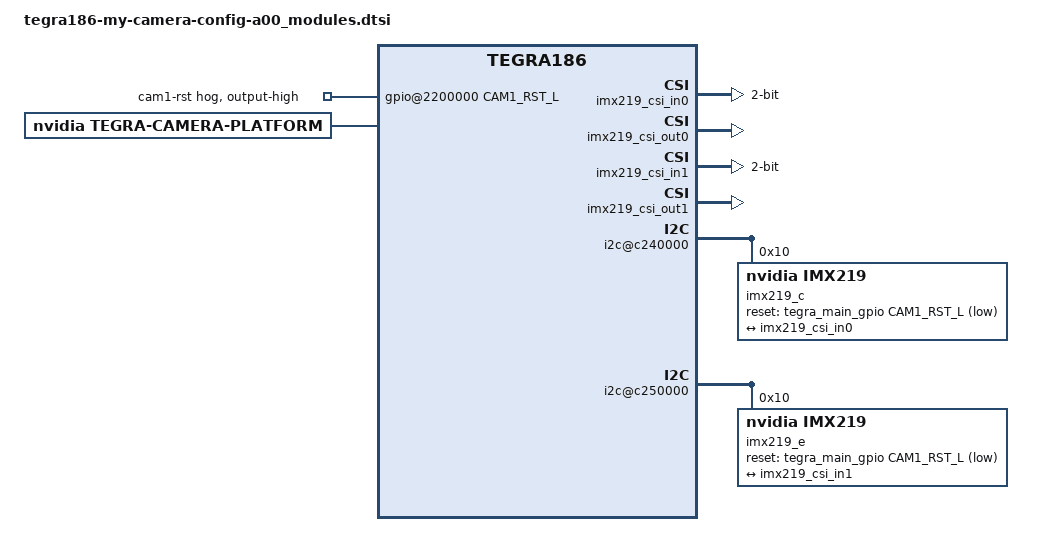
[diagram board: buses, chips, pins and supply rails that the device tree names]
#include "dt-bindings/clock/tegra186-clock.h"
#include <dt-bindings/pinctrl/pinctrl-tegra.h>
#include <dt-bindings/gpio/tegra186-gpio.h>

#define CAM1_RST_L     TEGRA_MAIN_GPIO(R, 1)

/* camera control gpio definitions */
/ {
	gpio@2200000 {
		camera-control-output-high {
			gpio-hog;
			output-high;
			gpios = <CAM1_RST_L 0>;
			label = "cam1-rst";
		};

		camera-control-output-low {
			status = "disabled";
		};

		camera-control-input {
			status = "disabled";
		};
	};
};

/ {
  host1x {
    vi@15700000 {
      num-channels = <2>;
      ports {
        #address-cells = <1>;
        #size-cells = <0>;
        vi_port0: port@0 {
          status = "okay";
          reg = <0>;
          vi_in0: endpoint {
            status = "okay";
            csi-port = <2>;
            bus-width = <2>;
            remote-endpoint = <&imx219_csi_out0>;
          };
        };
        vi_port1: port@1 {
          status = "okay";
          reg = <1>;
          vi_in1: endpoint {
            status = "okay";
            csi-port = <4>;
            bus-width = <2>;
            remote-endpoint = <&imx219_csi_out1>;
          };
        };
      };
    };
  };
};


/ {
  host1x {
    nvcsi@150c0000 {
      #address-cells = <1>;
			#size-cells = <0>;
      num-channels = <2>;
      //status = "okay"
      channel@0 {
        reg = <0>;
        status = "okay";
        ports {
          #address-cells = <1>;
          #size-cells = <0>;
          port@0 {
            status = "okay";
            reg = <0>;
            imx219_csi_in0: endpoint@0 {
              status = "okay";
              csi-port = <2>;
              bus-width = <2>;
              remote-endpoint = <&imx219_phy_out0>;
            };
          };
          port@1 {
            status = "okay";
            reg = <1>;
            imx219_csi_out0: endpoint@1 {
              status = "okay";
              remote-endpoint = <&vi_in0>;
            };
          };
        };
      };

      channel@1 {
        reg = <1>;
        status = "okay";
        ports {
          #address-cells = <1>;
          #size-cells = <0>;
          port@0 {
            status = "okay";
            reg = <0>;
            imx219_csi_in1: endpoint@2 {
              status = "okay";
              csi-port = <4>;
              bus-width = <2>;
              remote-endpoint = <&imx219_phy_out1>;
            };
          };
          port@1 {
            status = "okay";
            reg = <1>;
            imx219_csi_out1: endpoint@3 {
              status = "okay";
              remote-endpoint = <&vi_in1>;
            };
          };
        };
      };
    };
  };
};

/ {
       i2c@c240000 {

        imx219_c@10 {
          // #address-cells = <1>;
          // #size-cells = <0>;
          compatible = "nvidia,imx219";
          reg = <0x10>;
          devnode = "video0";

          //ADDED
          clocks = <&tegra_car TEGRA186_CLK_EXTPERIPH3>, <&tegra_car TEGRA186_CLK_PLLP_OUT0>;
          clock-names = "extperiph3", "pllp_grtba";
          mclk = "extperiph3";
          reset-gpios = <&tegra_main_gpio CAM1_RST_L GPIO_ACTIVE_LOW>;

          physical_w = "5.095";
          physical_h = "4.930";

          sensor_model ="imx219";
          use_sensor_mode_id = "true";

          mode0 { // IMX219_MODE_1920X1080
            mclk_khz = "27000";
            mclk_multiplier = "25";
            pix_clk_hz = "182400000";
            // pix_clk_hz = "170000000";

            num_lanes = "2";
            tegra_sinterface = "serial_c";
            discontinuous_clk = "no";
            cil_settletime = "0";
            pixel_t = "bayer_rggb";
            readout_orientation = "0";
            inherent_gain = "1";

            active_w = "1920";
            active_h = "1080";

            line_length = "3448";
            dpcm_enable = "false";

            min_gain_val = "1";
            max_gain_val = "16";
            min_hdr_ratio = "1";
            max_hdr_ratio = "64";
            min_framerate = "1";
            max_framerate = "30";
            min_exp_time = "13";
            max_exp_time = "683709";
            embedded_metadata_height = "2";
          };
          mode1 { // IMX219_MODE_1280X720
            mclk_khz = "27000";
            mclk_multiplier = "25";
            pix_clk_hz = "182400000";
            // pix_clk_hz = "170000000";

            num_lanes = "2";
            tegra_sinterface = "serial_c";
            discontinuous_clk = "no";
            cil_settletime = "0";
            pixel_t = "bayer_rggb";
            readout_orientation = "0";
            inherent_gain = "1";

            active_w = "1280";
            active_h = "720";

            line_length = "3448";
            dpcm_enable = "false";
            //line_length = "1752";

            min_gain_val = "1";
            max_gain_val = "16";
            min_hdr_ratio = "1";
            max_hdr_ratio = "64";
            min_framerate = "1";
            max_framerate = "60";
            //min_exp_time = "16";
            min_exp_time = "13";
            max_exp_time = "683709";
            embedded_metadata_height = "2";
          };
          mode2 { // IMX219_MODE_640X480

            mclk_khz = "27000";
            mclk_multiplier = "25.0";
            pix_clk_hz = "182400000";
            // pix_clk_hz = "170000000";

            num_lanes = "2";
            tegra_sinterface = "serial_c";
            discontinuous_clk = "no";
            cil_settletime = "0";
            pixel_t = "bayer_rggb";
            readout_orientation = "0";
            inherent_gain = "1";

            active_w = "640";
            active_h = "480";

            line_length = "3559";
            dpcm_enable = "false";

            min_gain_val = "1.0";
            max_gain_val = "16";
            min_hdr_ratio = "1";
            max_hdr_ratio = "64";
            min_framerate = "1";
            max_framerate = "90";
            //min_exp_time = "22";
            min_exp_time = "13";
          max_exp_time = "358733";
            embedded_metadata_height = "2";
          };

          ports {
            #address-cells = <1>;
            #size-cells = <0>;

            port@0 {
              reg = <0>;
              imx219_phy_out0: endpoint {
                csi-port = <2>;
                bus-width = <2>;
                remote-endpoint = <&imx219_csi_in0>;
              };
            };
          };
        };
      };

       i2c@c250000 {

        imx219_e@10 {
          // #address-cells = <1>;
          // #size-cells = <0>;
          compatible = "nvidia,imx219";
          reg = <0x10>;
          devnode = "video1";

          //ADDED
          clocks = <&tegra_car TEGRA186_CLK_EXTPERIPH3>, <&tegra_car TEGRA186_CLK_PLLP_OUT0>;
          clock-names = "extperiph3", "pllp_grtba";
          mclk = "extperiph3";
          reset-gpios = <&tegra_main_gpio CAM1_RST_L GPIO_ACTIVE_LOW>;

          physical_w = "5.095";
          physical_h = "4.930";

          sensor_model ="imx219";
          use_sensor_mode_id = "true";

          mode0 { // IMX219_MODE_1920X1080
            mclk_khz = "27000";
            mclk_multiplier = "25";
            pix_clk_hz = "182400000";
            // pix_clk_hz = "170000000";

            num_lanes = "2";
            tegra_sinterface = "serial_e";
            discontinuous_clk = "no";
            cil_settletime = "0";
            pixel_t = "bayer_rggb";
            readout_orientation = "0";
            inherent_gain = "1";

            active_w = "1920";
            active_h = "1080";

            line_length = "3448";
            dpcm_enable = "false";

            min_gain_val = "1";
            max_gain_val = "16";
            min_hdr_ratio = "1";
            max_hdr_ratio = "64";
            min_framerate = "1";
            max_framerate = "30";
            min_exp_time = "13";
            max_exp_time = "683709";
            embedded_metadata_height = "2";
          };
          mode1 { // IMX219_MODE_1280X720
            mclk_khz = "27000";
            mclk_multiplier = "25";
            pix_clk_hz = "182400000";
            // pix_clk_hz = "170000000";

            num_lanes = "2";
            tegra_sinterface = "serial_e";
            discontinuous_clk = "no";
            cil_settletime = "0";
            pixel_t = "bayer_rggb";
            readout_orientation = "0";
            inherent_gain = "1";

            active_w = "1280";
            active_h = "720";

            line_length = "3448";
            dpcm_enable = "false";
            //line_length = "1752";

            min_gain_val = "1";
            max_gain_val = "16";
            min_hdr_ratio = "1";
            max_hdr_ratio = "64";
            min_framerate = "1";
            max_framerate = "60";
            //min_exp_time = "16";
            min_exp_time = "13";
            max_exp_time = "683709";
            embedded_metadata_height = "2";
          };
          mode2 { // IMX219_MODE_640X480

            mclk_khz = "27000";
            mclk_multiplier = "25.0";
            pix_clk_hz = "182400000";
            // pix_clk_hz = "170000000";

            num_lanes = "2";
            tegra_sinterface = "serial_e";
            discontinuous_clk = "no";
            cil_settletime = "0";
            pixel_t = "bayer_rggb";
            readout_orientation = "0";
            inherent_gain = "1";

            active_w = "640";
            active_h = "480";

            line_length = "3559";
            dpcm_enable = "false";

            min_gain_val = "1.0";
            max_gain_val = "16";
            min_hdr_ratio = "1";
            max_hdr_ratio = "64";
            min_framerate = "1";
            max_framerate = "90";
            //min_exp_time = "22";
            min_exp_time = "13";
          max_exp_time = "358733";
            embedded_metadata_height = "2";
          };

          ports {
            #address-cells = <1>;
            #size-cells = <0>;

            port@0 {
              reg = <0>;
              imx219_phy_out1: endpoint {
                csi-port = <4>;
                bus-width = <2>;
                remote-endpoint = <&imx219_csi_in1>;
              };
            };
          };
        };
      };
    };

/ {
  tegra-camera-platform {
    compatible = "nvidia, tegra-camera-platform";
    num_csi_lanes = <4>;
    max_lane_speed = <1500000>;
    max_pixel_rate = <600000>;
    min_bits_per_pixel = <10>;
    vi_peak_byte_per_pixel = <2>;
    vi_bw_margin_pct = <25>;
    isp_peak_byte_per_pixel = <5>;
    isp_bw_margin_pct = <25>;

    modules {
      module0 {
        status = "okay";
        //badge = "imx185_bottom_liimx185";
        badge = "e3322_rear_A815P2";
        // badge = "e3322_rear_A819P2";
        position = "rear";
        orientation = "0";
        drivernode0 {
          status = "okay";
          pcl_id = "v4l2_sensor";
          devname = "imx219 1-0010";
          proc-device-tree = "/proc/device-tree/i2c@c240000/imx219_c@10";
        };
      };

      module1 {
        status = "okay";
        //badge = "imx185_bottom_liimx185";
        badge = "e3322_front_A815P2";
        // badge = "e3322_rear_A819P2";
        position = "front";
        orientation = "1";
        drivernode0 {
          status = "okay";
          pcl_id = "v4l2_sensor";
          devname = "imx219 7-0010";
          proc-device-tree = "/proc/device-tree/i2c@c250000/imx219_e@10";
        };
      };

    };
  };
};
